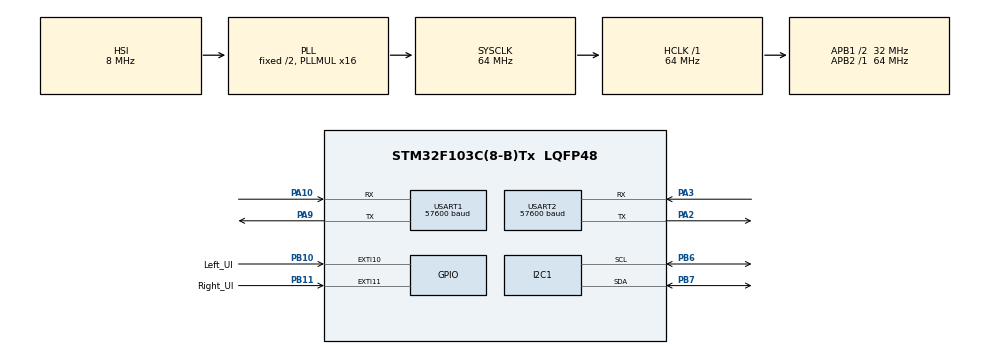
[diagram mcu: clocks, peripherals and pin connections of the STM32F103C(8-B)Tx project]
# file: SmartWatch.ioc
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I2C1.I2C_Mode=I2C_Fast
Mcu.Family=STM32F1
Mcu.Name=STM32F103C(8-B)Tx
Mcu.Package=LQFP48
NVIC.PriorityGroup=NVIC_PRIORITYGROUP_4
NVIC.RTC_Alarm_IRQn=true\:5\:0\:true\:false\:true\:true\:true\:true
NVIC.TIM1_UP_IRQn=true\:15\:0\:false\:false\:true\:false\:true\:true
NVIC.TimeBase=TIM1_UP_IRQn
NVIC.TimeBaseIP=TIM1
NVIC.USART1_IRQn=true\:6\:0\:true\:false\:true\:true\:true\:true
NVIC.USART2_IRQn=true\:7\:0\:true\:false\:true\:true\:true\:true
PA10.Mode=Asynchronous
PA10.Signal=USART1_RX
PA13.Mode=Serial_Wire
PA13.Signal=SYS_JTMS-SWDIO
PA14.Mode=Serial_Wire
PA14.Signal=SYS_JTCK-SWCLK
PA2.Mode=Asynchronous
PA2.Signal=USART2_TX
PA3.Mode=Asynchronous
PA3.Signal=USART2_RX
PA9.Mode=Asynchronous
PA9.Signal=USART1_TX
PB10.GPIO_Label=Left_UI
PB10.GPIO_ModeDefaultEXTI=GPIO_MODE_IT_RISING
PB10.Signal=GPXTI10
PB11.GPIO_Label=Right_UI
PB11.Signal=GPXTI11
PB6.Mode=I2C
PB6.Signal=I2C1_SCL
PB7.Mode=I2C
PB7.Signal=I2C1_SDA
PC14-OSC32_IN.Mode=LSE-External-Oscillator
PC14-OSC32_IN.Signal=RCC_OSC32_IN
PC15-OSC32_OUT.Mode=LSE-External-Oscillator
PC15-OSC32_OUT.Signal=RCC_OSC32_OUT
ProjectManager.HeapSize=0x200
ProjectManager.StackSize=0x400
ProjectManager.TargetToolchain=CMake
RCC.AHBFreq_Value=64000000
RCC.APB1CLKDivider=RCC_HCLK_DIV2
RCC.APB1Freq_Value=32000000
RCC.APB1TimFreq_Value=64000000
RCC.APB2Freq_Value=64000000
RCC.APB2TimFreq_Value=64000000
RCC.HCLKFreq_Value=64000000
RCC.PLLMUL=RCC_PLL_MUL16
RCC.SYSCLKFreq_VALUE=64000000
RCC.SYSCLKSource=RCC_SYSCLKSOURCE_PLLCLK
RCC.USBFreq_Value=64000000
RTC.Format=RTC_FORMAT_BIN
USART1.BaudRate=57600
USART1.VirtualMode=VM_ASYNC
USART2.BaudRate=57600
USART2.VirtualMode=VM_ASYNC
VP_RTC_VS_RTC_Activate.Mode=RTC_Enabled
VP_RTC_VS_RTC_Calendar.Mode=RTC_Calendar
VP_SYS_VS_tim1.Mode=TIM1
board=custom

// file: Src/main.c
/* USER CODE BEGIN Header */
/**
******************************************************************************
* @file : main.c
* @brief : Main program body - Improved PPG Heart Rate Detection with BPM Averaging
******************************************************************************
* @attention
*
* Copyright (c) 2025 STMicroelectronics.
* All rights reserved.
*
* This software is licensed under terms that can be found in the LICENSE file
* in the root directory of this software component.
* If no LICENSE file comes with this software, it is provided AS-IS.
*
******************************************************************************
*/
/* USER CODE END Header */
#include "main.h"

/* USER CODE BEGIN Includes */
#include "max30102_scripts.h"
#include "mpu6050_scripts.h"
#include "time_handling.h"
#include "ssd1306.h"

#include <stdlib.h>
#include <stdio.h>
#include <stdbool.h>
#include <string.h>
#include <math.h>
#include <max30102_scripts.h>
#include <stdint.h>
/* USER CODE END Includes */

I2C_HandleTypeDef hi2c1;

RTC_HandleTypeDef hrtc;

UART_HandleTypeDef huart1;
UART_HandleTypeDef huart2;

/* USER CODE BEGIN PV */
enum UI_state {
	TIME,
	BPM,
	ACCEL
} ui_state = ACCEL;

/* USER CODE END PV */

void SystemClock_Config(void);
static void MX_GPIO_Init(void);
static void MX_I2C1_Init(void);
static void MX_RTC_Init(void);
static void MX_USART1_UART_Init(void);
static void MX_USART2_UART_Init(void);

int main(void)
{

  /* MCU Configuration--------------------------------------------------------*/

  /* Reset of all peripherals, Initializes the Flash interface and the Systick. */
  HAL_Init();

  /* Configure the system clock */
  SystemClock_Config();

  /* Initialize all configured peripherals */
  MX_GPIO_Init();
  MX_I2C1_Init();
  MX_RTC_Init();
  MX_USART1_UART_Init();
  MX_USART2_UART_Init();
  /* USER CODE BEGIN 2 */
  // Initialize MAX30102 and SSD1306
  ssd1306_Init();
  configure_MAX30102();
  configure_MPU6050();
  HAL_UART_Receive_IT(&huart1, uart_rx_buf, 1);  // Start first receive
  HAL_UART_Transmit(&huart2, (uint8_t*)"Ready\n", 6, 100);  // Test message
  /* USER CODE END 2 */

  /* Infinite loop */
  /* USER CODE BEGIN WHILE */
    while (1)
    {
    	switch (ui_state) {

      case TIME:
        render_time();
        break;
      case BPM:
        render_bpm();
        break;
    	case ACCEL:
    		render_accel();
    		break;
    	}
        HAL_Delay(1);

    /* USER CODE END WHILE */

    }
}

void SystemClock_Config(void)
{
  RCC_OscInitTypeDef RCC_OscInitStruct = {0};
  RCC_ClkInitTypeDef RCC_ClkInitStruct = {0};
  RCC_PeriphCLKInitTypeDef PeriphClkInit = {0};

  /** Initializes the RCC Oscillators according to the specified parameters
  * in the RCC_OscInitTypeDef structure.
  */
  RCC_OscInitStruct.OscillatorType = RCC_OSCILLATORTYPE_HSI|RCC_OSCILLATORTYPE_LSI;
  RCC_OscInitStruct.HSIState = RCC_HSI_ON;
  RCC_OscInitStruct.HSICalibrationValue = RCC_HSICALIBRATION_DEFAULT;
  RCC_OscInitStruct.LSIState = RCC_LSI_ON;
  RCC_OscInitStruct.PLL.PLLState = RCC_PLL_ON;
  RCC_OscInitStruct.PLL.PLLSource = RCC_PLLSOURCE_HSI_DIV2;
  RCC_OscInitStruct.PLL.PLLMUL = RCC_PLL_MUL16;
  if (HAL_RCC_OscConfig(&RCC_OscInitStruct) != HAL_OK)
  {
    Error_Handler();
  }

  /** Initializes the CPU, AHB and APB buses clocks
  */
  RCC_ClkInitStruct.ClockType = RCC_CLOCKTYPE_HCLK|RCC_CLOCKTYPE_SYSCLK
                              |RCC_CLOCKTYPE_PCLK1|RCC_CLOCKTYPE_PCLK2;
  RCC_ClkInitStruct.SYSCLKSource = RCC_SYSCLKSOURCE_PLLCLK;
  RCC_ClkInitStruct.AHBCLKDivider = RCC_SYSCLK_DIV1;
  RCC_ClkInitStruct.APB1CLKDivider = RCC_HCLK_DIV2;
  RCC_ClkInitStruct.APB2CLKDivider = RCC_HCLK_DIV1;

  if (HAL_RCC_ClockConfig(&RCC_ClkInitStruct, FLASH_LATENCY_2) != HAL_OK)
  {
    Error_Handler();
  }
  PeriphClkInit.PeriphClockSelection = RCC_PERIPHCLK_RTC;
  PeriphClkInit.RTCClockSelection = RCC_RTCCLKSOURCE_LSI;
  if (HAL_RCCEx_PeriphCLKConfig(&PeriphClkInit) != HAL_OK)
  {
    Error_Handler();
  }
}

static void MX_I2C1_Init(void)
{

  hi2c1.Instance = I2C1;
  hi2c1.Init.ClockSpeed = 400000;
  hi2c1.Init.DutyCycle = I2C_DUTYCYCLE_2;
  hi2c1.Init.OwnAddress1 = 0;
  hi2c1.Init.AddressingMode = I2C_ADDRESSINGMODE_7BIT;
  hi2c1.Init.DualAddressMode = I2C_DUALADDRESS_DISABLE;
  hi2c1.Init.OwnAddress2 = 0;
  hi2c1.Init.GeneralCallMode = I2C_GENERALCALL_DISABLE;
  hi2c1.Init.NoStretchMode = I2C_NOSTRETCH_DISABLE;
  if (HAL_I2C_Init(&hi2c1) != HAL_OK)
  {
    Error_Handler();
  }

}

static void MX_RTC_Init(void)
{

  RTC_TimeTypeDef sTime = {0};
  RTC_DateTypeDef DateToUpdate = {0};

  /** Initialize RTC Only
  */
  hrtc.Instance = RTC;
  hrtc.Init.AsynchPrediv = RTC_AUTO_1_SECOND;
  hrtc.Init.OutPut = RTC_OUTPUTSOURCE_ALARM;
  if (HAL_RTC_Init(&hrtc) != HAL_OK)
  {
    Error_Handler();
  }

  /** Initialize RTC and set the Time and Date
  */
  sTime.Hours = 0;
  sTime.Minutes = 0;
  sTime.Seconds = 0;

  if (HAL_RTC_SetTime(&hrtc, &sTime, RTC_FORMAT_BIN) != HAL_OK)
  {
    Error_Handler();
  }
  DateToUpdate.WeekDay = RTC_WEEKDAY_MONDAY;
  DateToUpdate.Month = RTC_MONTH_JANUARY;
  DateToUpdate.Date = 1;
  DateToUpdate.Year = 0;

  if (HAL_RTC_SetDate(&hrtc, &DateToUpdate, RTC_FORMAT_BIN) != HAL_OK)
  {
    Error_Handler();
  }

}

static void MX_USART1_UART_Init(void)
{

  huart1.Instance = USART1;
  huart1.Init.BaudRate = 57600;
  huart1.Init.WordLength = UART_WORDLENGTH_8B;
  huart1.Init.StopBits = UART_STOPBITS_1;
  huart1.Init.Parity = UART_PARITY_NONE;
  huart1.Init.Mode = UART_MODE_TX_RX;
  huart1.Init.HwFlowCtl = UART_HWCONTROL_NONE;
  huart1.Init.OverSampling = UART_OVERSAMPLING_16;
  if (HAL_UART_Init(&huart1) != HAL_OK)
  {
    Error_Handler();
  }

}

static void MX_USART2_UART_Init(void)
{

  huart2.Instance = USART2;
  huart2.Init.BaudRate = 57600;
  huart2.Init.WordLength = UART_WORDLENGTH_8B;
  huart2.Init.StopBits = UART_STOPBITS_1;
  huart2.Init.Parity = UART_PARITY_NONE;
  huart2.Init.Mode = UART_MODE_TX_RX;
  huart2.Init.HwFlowCtl = UART_HWCONTROL_NONE;
  huart2.Init.OverSampling = UART_OVERSAMPLING_16;
  if (HAL_UART_Init(&huart2) != HAL_OK)
  {
    Error_Handler();
  }

}

static void MX_GPIO_Init(void)
{
  GPIO_InitTypeDef GPIO_InitStruct = {0};

  /* GPIO Ports Clock Enable */
  __HAL_RCC_GPIOC_CLK_ENABLE();
  __HAL_RCC_GPIOA_CLK_ENABLE();
  __HAL_RCC_GPIOB_CLK_ENABLE();

  /*Configure GPIO pins : Left_UI_Pin Right_UI_Pin */
  GPIO_InitStruct.Pin = Left_UI_Pin|Right_UI_Pin;
  GPIO_InitStruct.Mode = GPIO_MODE_IT_RISING;
  GPIO_InitStruct.Pull = GPIO_NOPULL;
  HAL_GPIO_Init(GPIOB, &GPIO_InitStruct);

}

/* USER CODE BEGIN 4 */
void HAL_UART_RxCpltCallback(UART_HandleTypeDef *huart) {
	 if (huart->Instance == USART1) {
	        if (uart_rx_buf[0] == '\n') {
	            // Only store if we're expecting more data
	            if (toFill < 7) {
	                hhmmss[toFill] = prevNum;
	                toFill++;
	                prevNum = 0;
	                if (toFill == 7) {
	                	parseTime(hhmmss);
	                	toFill = 0;
	                }
	            }
	        }
	        else if (uart_rx_buf[0] >= '0' && uart_rx_buf[0] <= '9') {
	            prevNum = prevNum * 10 + (uart_rx_buf[0] - '0');
	        }

	        // Always restart UART receive
	        HAL_UART_Receive_IT(&huart1, uart_rx_buf, 1);

	    }
}

void HAL_GPIO_EXTI_Callback(uint16_t GPIO_Pin){
  if(GPIO_Pin==Left_UI_Pin) {
    ui_state = (ui_state + 1) % 3;
  } else if(GPIO_Pin==Right_UI_Pin) {
	  if (ui_state == 0) {
		  // Then set to tail and return from callback
		  ui_state = 2;
		  HAL_UART_Transmit(&huart2, &ui_state, 1, 10);
		  return;
	  }
    ui_state = (ui_state - 1) % 3;
  }else {
	  // Do nothing
	    __NOP();
	  }
  HAL_UART_Transmit(&huart2, &ui_state, 1, 10);

}
/* USER CODE END 4 */

void HAL_TIM_PeriodElapsedCallback(TIM_HandleTypeDef *htim)
{
  if (htim->Instance == TIM1)
  {
    HAL_IncTick();
  }
}

void Error_Handler(void)
{
  __disable_irq();
  while (1)
  {
  }
}
